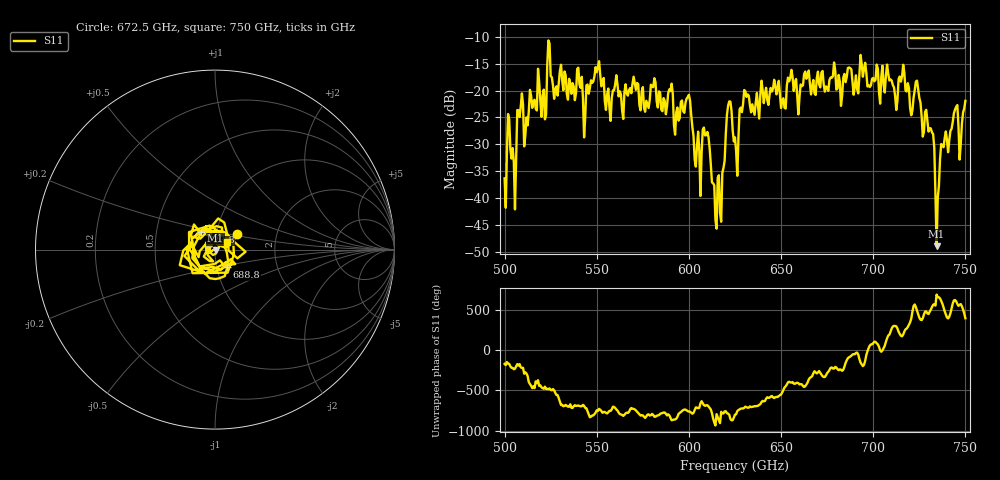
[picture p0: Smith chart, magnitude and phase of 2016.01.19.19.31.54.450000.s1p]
!Created with skrf (http://scikit-rf.org).
# GHz S RI R 50.0
!freq ReS11 ImS11
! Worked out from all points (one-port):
!   401 points, 500 GHz to 750 GHz, reference 50 ohm
!   lowest |S11| = -48.9 dB at 734.4 GHz (marker M1), VSWR 1.01, Z = 50.3 - j0.188 ohm
!   |S11| at or under -10 dB: start of sweep to end of sweep
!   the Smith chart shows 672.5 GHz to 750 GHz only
!   S11 on the Smith chart (normalised r, x): 672.5 GHz: 1.26, +0.23; 688.8 GHz: 1.12, -0.22; 723.8 GHz: 0.84, +0.17; 750 GHz: 1.14, +0.10
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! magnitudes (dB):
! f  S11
! 500 GHz  -36.3
! 502.5 GHz  -25.4
! 505 GHz  -33.3
! 508.1 GHz  -24.9
! 511.9 GHz  -25.0
! 521.2 GHz  -19.8
! 524.4 GHz  -11.2
! 531.2 GHz  -18.1
! 562.5 GHz  -20.1
! 590 GHz  -20.1
! 593.8 GHz  -23.2
! 599.4 GHz  -21.2
! 605 GHz  -27.6
! 609.4 GHz  -28.3
! 615.6 GHz  -36.2
! 621.9 GHz  -22.0
! 625 GHz  -28.7
! 631.2 GHz  -21.2
! 656.2 GHz  -17.5
! 672.5 GHz  -16.4
! 687.5 GHz  -15.8
! 688.8 GHz  -18.4
! 718.8 GHz  -18.6
! 723.8 GHz  -18.2
! 731.9 GHz  -27.8
! 734.4 GHz  -48.9
! 738.1 GHz  -30.5
! 750 GHz  -21.9
